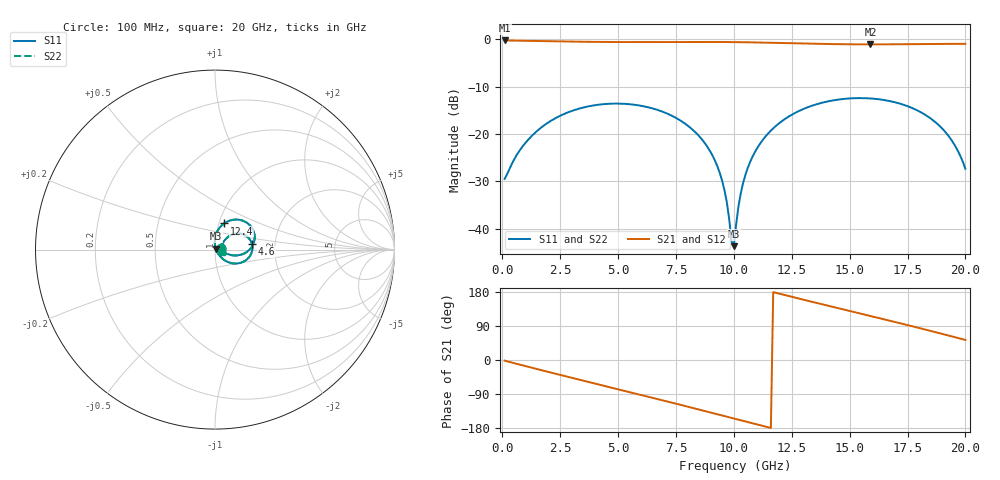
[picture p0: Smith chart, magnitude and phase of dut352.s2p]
! Touchstone file exported from HFSS 2026.1.0
!  File:  C:/ffzhzh/LocalFiles/Ansys_Project_Files/temp_train_TSV_RDL_352_1783036946_4048.aedt
!  Generated:  08:13:05 AM Jul  3, 2026
!  Design:  TSV_RDL
!  Project:  temp_train_TSV_RDL_352_1783036946_4048
! Variables:
!  h_bsmrdl = 2.75um
!  h_ox = 20um
!  h_rdl = 5um
!  h_sub = 76.59um
!  h_tmrdl = 4.27um
!  h_tsv = 76.59um
!  h_via = 3um
!  l_bsmrdl = 651.02um
!  l_sub = 4517.18um
!  l_tmrdl = 521.26um
!  m_sub = 200um
!  pitch = 24.63um
!  r_tsv = 10.94um
!  s_tmrdl = 10um
!  w_bsmrdl = 15.67um
!  w_sub = 500um
!  w_tmrdl = 10.69um
!  x_tsv_center1 = 526.605um
!  x_tsv_center2 = 1193.295um
!  x_tsv_center3 = 1725.245um
!  x_tsv_center4 = 2391.935um
!  x_tsv_center5 = 2923.885um
!  x_tsv_center6 = 3590.575um
# GHz S MA R 50.000000
! Terminal data exported
! Port[1] = TM_RDL1_1_T1
! Port[2] = TM_RDL5_1_T1
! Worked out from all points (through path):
!   200 points, 100 MHz to 20 GHz, reference 50 ohm
!   highest |S21| = -0.29 dB at 100 MHz (marker M1); lowest = -1.1 dB at 15.9 GHz (marker M2)
!   group delay of S21, straight-line fit = 42.5 ps
!   lowest |S11| = -43.7 dB at 10 GHz (marker M3), VSWR 1.01, Z = 50.5 + j0.439 ohm
!   |S11| at or under -10 dB: start of sweep to end of sweep
!   |S22| runs from -43.6 to -12.4 dB; largest |S21 - S12| = 1.7e-14
!   S11 on the Smith chart (normalised r, x): 100 MHz: 1.07, +0.02; 4.6 GHz: 1.51, +0.10; 12.4 GHz: 1.06, +0.32; 20 GHz: 1.09, -0.02
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0.1  0.03358 13.1  0.9675 -1.7  0.9675 -1.7  0.03358 13.1
! Gamma 0 0 0 0
! Port Impedance 50 0 50 0
1.4  0.1021 44.2  0.9544 -22.3  0.9544 -22.3  0.1021 44.2
3.5  0.19 23.4  0.9375 -54.6  0.9375 -54.6  0.19 23.4
4.6  0.2079 8.9  0.9319 -71.2  0.9319 -71.2  0.2079 8.9
6.8  0.176 -21.6  0.9314 -104.5  0.9314 -104.5  0.176 -21.6
8.1  0.1175 -39.7  0.9338 -124.6  0.9338 -124.6  0.1176 -39.7
9  0.06419 -50.7  0.9335 -138.6  0.9335 -138.6  0.06423 -50.7
9.5  0.03183 -52.7  0.9321 -146.5  0.9321 -146.5  0.03187 -52.6
9.7  0.01882 -47.9  0.9312 -149.7  0.9312 -149.7  0.01888 -47.7
9.9  0.007408 -14.9  0.9302 -152.8  0.9302 -152.8  0.007496 -14.8
10  0.006562 41.5  0.9296 -154.4  0.9296 -154.4  0.006628 40.9
10.1  0.01114 74.4  0.929 -156.0  0.929 -156.0  0.01116 73.9
10.4  0.0304 91.3  0.9268 -160.7  0.9268 -160.7  0.03039 91.1
10.8  0.05711 90.7  0.9234 -166.9  0.9234 -166.9  0.05709 90.5
11.5  0.1023 82.9  0.9161 -177.9  0.9161 -177.9  0.1023 82.8
12.4  0.1541 70.8  0.9054 168.3  0.9054 168.3  0.1541 70.7
13.4  0.1994 57.0  0.8937 153.2  0.8937 153.2  0.1993 56.9
15.9  0.2367 22.7  0.8791 116.1  0.8791 116.1  0.2367 22.5
16.7  0.223 11.8  0.8803 104.2  0.8803 104.2  0.223 11.7
18.8  0.127 -14.6  0.8898 72.0  0.8898 72.0  0.127 -14.9
19.5  0.07899 -19.4  0.8917 61.0  0.8917 61.0  0.07886 -19.9
20  0.04295 -13.7  0.8917 53.0  0.8917 53.0  0.04268 -14.6
